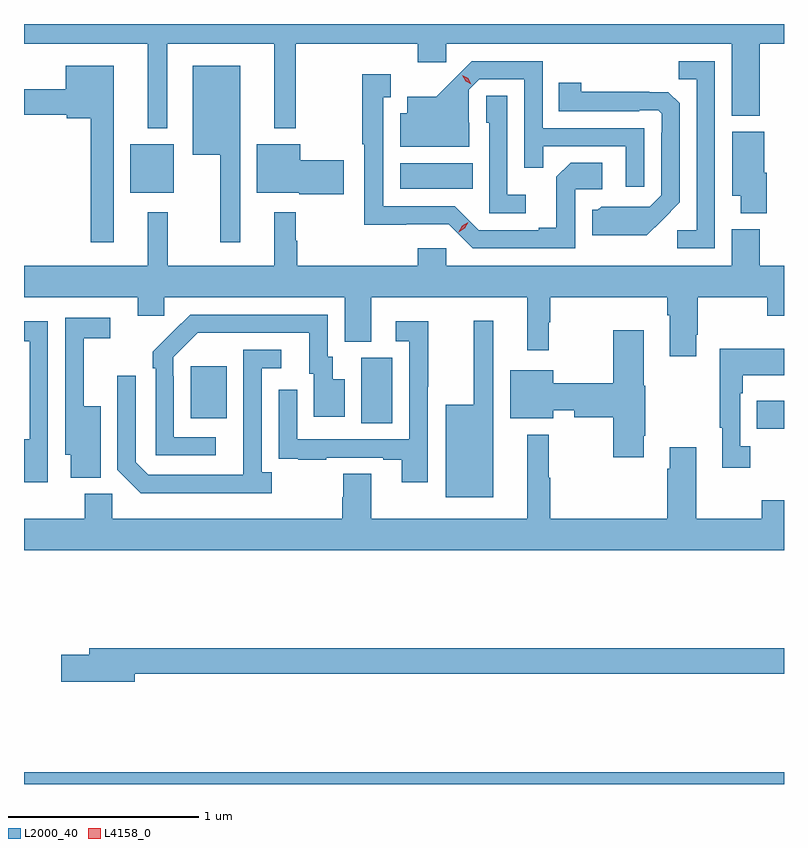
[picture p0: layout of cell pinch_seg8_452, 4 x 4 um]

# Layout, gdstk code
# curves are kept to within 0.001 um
import gdstk
lib = gdstk.Library(unit=1e-6, precision=1e-09)
def R(c, l, rs):  # rectangles x0, y0, x1, y1
    for r in rs: c.add(gdstk.rectangle(r[:2], r[2:], *l))
def P(c, l, *ps):  # polygons
    for p in ps: c.add(gdstk.Polygon(p, *l))
L2000_40 = (2000, 40)
L4158_0 = (4158, 0)

pinch_seg8_452 = lib.new_cell('pinch_seg8_452')
R(pinch_seg8_452, L2000_40, [(196.665,1136.581,200.665,1136.644), (200.521,1138.45,200.665,1138.597), (198.44,1138.48,198.604,1138.824), (197.543,1138.505,197.731,1138.78), (197.225,1139.693,197.452,1139.947), (198.644,1139.714,199.028,1139.848)])
P(pinch_seg8_452, L2000_40, [(197.419,1140.476),(197.981,1140.476),(197.981,1140.032),(198.095,1140.032),(198.095,1140.476),(198.737,1140.476),(198.737,1140.381),(198.888,1140.381),(198.888,1140.476),(200.39,1140.476),(200.39,1140.098),(200.538,1140.098),(200.538,1140.476),(200.665,1140.476),(200.665,1140.581),(196.665,1140.581),(196.665,1140.476),(197.315,1140.476),(197.315,1140.032),(197.419,1140.032)],
  [(199.929,1140.033),(199.395,1140.033),(199.395,1140.384),(199.022,1140.384),(198.835,1140.199),(198.683,1140.199),(198.683,1140.112),(198.644,1140.112),(198.644,1139.936),(199.009,1139.936),(199.009,1140.06),(199.005,1140.06),(199.005,1140.234),(199.062,1140.291),(199.299,1140.291),(199.299,1139.824),(199.397,1139.824),(199.397,1139.937),(199.833,1139.937),(199.833,1139.724),(199.929,1139.724)],
  [(200.301,1140.384),(200.11,1140.384),(200.11,1140.289),(200.205,1140.289),(200.205,1139.496),(200.103,1139.496),(200.103,1139.4),(200.301,1139.4)],
  [(197.137,1140.361),(196.886,1140.361),(196.886,1140.238),(196.665,1140.238),(196.665,1140.104),(196.89,1140.104),(196.89,1140.086),(197.016,1140.086),(197.016,1139.433),(197.137,1139.433)],
  [(197.803,1140.361),(197.552,1140.361),(197.552,1139.894),(197.699,1139.894),(197.699,1139.672),(197.697,1139.672),(197.697,1139.433),(197.803,1139.433)],
  [(199.566,1139.712),(199.708,1139.712),(199.708,1139.852),(199.543,1139.852),(199.467,1139.776),(199.467,1139.509),(199.373,1139.509),(199.373,1139.496),(199.059,1139.496),(198.933,1139.622),(198.556,1139.622),(198.556,1140.195),(198.595,1140.195),(198.595,1140.316),(198.445,1140.316),(198.445,1139.947),(198.455,1139.947),(198.455,1139.525),(198.9,1139.526),(199.026,1139.4),(199.566,1139.4)],
  [(200.023,1139.549),(200.115,1139.642),(200.115,1140.164),(200.056,1140.223),(199.599,1140.224),(199.599,1140.271),(199.48,1140.271),(199.48,1140.123),(199.904,1140.123),(199.904,1140.126),(200.004,1140.126),(200.022,1140.108),(200.022,1140.008),(200.019,1140.008),(200.019,1139.679),(199.959,1139.619),(199.702,1139.62),(199.686,1139.604),(199.655,1139.604),(199.655,1139.468),(199.943,1139.468)],
  [(199.306,1139.683),(199.209,1139.683),(199.209,1140.203),(199.098,1140.203),(199.098,1140.06),(199.113,1140.06),(199.113,1139.586),(199.306,1139.586)],
  [(200.573,1139.799),(200.56,1139.799),(200.56,1140.013),(200.393,1140.013),(200.393,1139.678),(200.438,1139.678),(200.438,1139.585),(200.573,1139.585)],
  [(198.349,1139.864),(198.118,1139.864),(198.118,1139.947),(197.891,1139.947),(197.891,1139.693),(198.114,1139.693),(198.114,1139.686),(198.349,1139.686)],
  [(200.203,1138.945),(200.211,1138.945),(200.211,1139.144),(200.578,1139.144),(200.578,1139.045),(200.665,1139.045),(200.665,1139.308),(200.538,1139.308),(200.538,1139.5),(200.39,1139.5),(200.39,1139.308),(198.888,1139.308),(198.888,1139.401),(198.737,1139.401),(198.737,1139.308),(198.103,1139.308),(198.103,1139.441),(198.095,1139.441),(198.095,1139.59),(197.981,1139.59),(197.981,1139.308),(197.422,1139.308),(197.422,1139.59),(197.315,1139.59),(197.315,1139.308),(196.665,1139.308),(196.665,1139.144),(197.264,1139.144),(197.264,1139.046),(197.403,1139.046),(197.403,1139.144),(198.353,1139.144),(198.353,1138.909),(198.493,1138.909),(198.493,1139.144),(199.313,1139.144),(199.313,1138.863),(199.427,1138.863),(199.427,1139.012),(199.435,1139.012),(199.435,1139.144),(200.051,1139.144),(200.051,1139.048),(200.063,1139.048),(200.063,1138.833),(200.203,1138.833)],
  [(197.674,1138.407),(197.454,1138.407),(197.454,1138.727),(197.451,1138.727),(197.451,1138.827),(197.58,1138.956),(198.167,1138.956),(198.167,1138.74),(198.191,1138.74),(198.191,1138.515),(198.352,1138.515),(198.352,1138.711),(198.289,1138.711),(198.289,1138.83),(198.264,1138.83),(198.264,1139.052),(197.54,1139.052),(197.343,1138.857),(197.343,1138.769),(197.358,1138.769),(197.358,1138.311),(197.674,1138.311)],
  [(197.068,1138.57),(196.979,1138.57),(196.979,1138.926),(197.119,1138.926),(197.119,1139.034),(196.881,1139.034),(196.881,1138.313),(196.91,1138.313),(196.91,1138.194),(197.068,1138.194)],
  [(199.135,1139.02),(199.031,1139.02),(199.031,1138.576),(198.884,1138.576),(198.884,1138.091),(199.135,1138.091)],
  [(198.789,1138.672),(198.792,1138.672),(198.792,1139.017),(198.621,1139.017),(198.621,1138.911),(198.693,1138.911),(198.693,1138.395),(198.102,1138.395),(198.102,1138.657),(198.006,1138.657),(198.006,1138.402),(198.007,1138.402),(198.007,1138.293),(198.109,1138.293),(198.109,1138.287),(198.257,1138.287),(198.257,1138.299),(198.557,1138.299),(198.557,1138.287),(198.653,1138.287),(198.653,1138.17),(198.789,1138.17)],
  [(196.791,1139.017),(196.665,1139.017),(196.665,1138.911),(196.695,1138.911),(196.695,1138.395),(196.665,1138.395),(196.665,1138.17),(196.791,1138.17)],
  [(199.927,1138.414),(199.935,1138.414),(199.935,1138.677),(199.927,1138.677),(199.927,1138.969),(199.765,1138.969),(199.765,1138.689),(199.45,1138.689),(199.45,1138.759),(199.223,1138.759),(199.223,1138.505),(199.45,1138.505),(199.45,1138.547),(199.562,1138.547),(199.562,1138.511),(199.765,1138.511),(199.765,1138.302),(199.927,1138.302)],
  [(200.488,1138.358),(200.436,1138.358),(200.436,1138.637),(200.449,1138.637),(200.449,1138.733),(200.665,1138.733),(200.665,1138.873),(200.328,1138.873),(200.328,1138.457),(200.339,1138.457),(200.339,1138.245),(200.488,1138.245)],
  [(197.968,1138.222),(197.916,1138.222),(197.916,1138.77),(198.019,1138.77),(198.019,1138.866),(197.82,1138.866),(197.819,1138.209),(197.319,1138.209),(197.253,1138.275),(197.253,1138.729),(197.157,1138.729),(197.157,1138.235),(197.28,1138.112),(197.968,1138.112)],
  [(200.665,1138.075),(200.548,1138.075),(200.548,1137.976),(200.203,1137.976),(200.203,1138.354),(200.063,1138.354),(200.063,1138.241),(200.051,1138.241),(200.051,1137.976),(199.435,1137.976),(199.435,1138.193),(199.427,1138.193),(199.427,1138.42),(199.313,1138.42),(199.313,1137.976),(198.493,1137.976),(198.493,1138.214),(198.346,1138.214),(198.346,1138.089),(198.341,1138.089),(198.341,1137.976),(197.13,1137.976),(197.13,1138.108),(196.984,1138.108),(196.984,1137.976),(196.665,1137.976),(196.665,1137.812),(200.665,1137.812)],
  [(197.248,1137.16),(200.665,1137.16),(200.665,1137.296),(197.009,1137.296),(197.009,1137.26),(196.86,1137.26),(196.86,1137.118),(197.248,1137.118)])
P(pinch_seg8_452, L4158_0, [(199.02,1140.265),(198.989,1140.28),(198.972,1140.31),(198.972,1140.311),(198.972,1140.311),(199.003,1140.295),(199.02,1140.265),(199.02,1140.265)],
  [(198.954,1139.486),(198.954,1139.487),(198.972,1139.519),(199.004,1139.538),(199.004,1139.538),(199.004,1139.537),(198.986,1139.505),(198.954,1139.486)])

lib.write_gds('pinch_seg8_452.gds')
